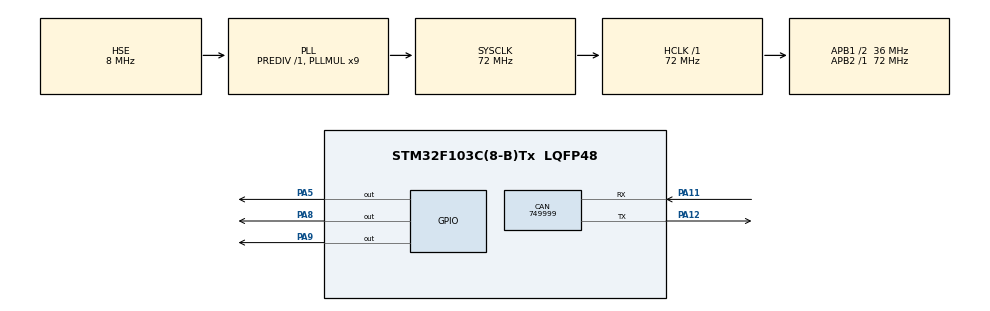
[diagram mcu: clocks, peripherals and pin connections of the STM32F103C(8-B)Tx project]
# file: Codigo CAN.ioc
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CAN.CalculateBaudRate=749999
CAN.CalculateTimeBit=1333
CAN.CalculateTimeQuantum=444.44444444444446
Mcu.Family=STM32F1
Mcu.Name=STM32F103C(8-B)Tx
Mcu.Package=LQFP48
NVIC.PriorityGroup=NVIC_PRIORITYGROUP_4
NVIC.USB_LP_CAN1_RX0_IRQn=true\:0\:0\:false\:false\:true\:true\:true\:true
PA11.Mode=CAN_Activate
PA11.Signal=CAN_RX
PA12.Mode=CAN_Activate
PA12.Signal=CAN_TX
PA13.Mode=Serial_Wire
PA13.Signal=SYS_JTMS-SWDIO
PA14.Mode=Serial_Wire
PA14.Signal=SYS_JTCK-SWCLK
PA5.Signal=GPIO_Output
PA8.PinState=GPIO_PIN_SET
PA8.Signal=GPIO_Output
PA9.Signal=GPIO_Output
PC14-OSC32_IN.Mode=LSE-External-Clock-Source
PC14-OSC32_IN.Signal=RCC_OSC32_IN
PC15-OSC32_OUT.Mode=LSE-External-Clock-Source
PC15-OSC32_OUT.Signal=RCC_OSC32_OUT
PD0-OSC_IN.Mode=HSE-External-Clock-Source
PD0-OSC_IN.Signal=RCC_OSC_IN
PD1-OSC_OUT.Mode=HSE-External-Clock-Source
PD1-OSC_OUT.Signal=RCC_OSC_OUT
ProjectManager.HeapSize=0x200
ProjectManager.StackSize=0x400
ProjectManager.TargetToolchain=STM32CubeIDE
RCC.AHBFreq_Value=72000000
RCC.APB1CLKDivider=RCC_HCLK_DIV2
RCC.APB1Freq_Value=36000000
RCC.APB1TimFreq_Value=72000000
RCC.APB2Freq_Value=72000000
RCC.APB2TimFreq_Value=72000000
RCC.HCLKFreq_Value=72000000
RCC.PLLMUL=RCC_PLL_MUL9
RCC.PLLSourceVirtual=RCC_PLLSOURCE_HSE
RCC.SYSCLKFreq_VALUE=72000000
RCC.SYSCLKSource=RCC_SYSCLKSOURCE_PLLCLK
RCC.USBFreq_Value=72000000
board=custom

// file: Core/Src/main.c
/* USER CODE BEGIN Header */
/**
  ******************************************************************************
  * @file           : main.c
  * @brief          : Main program body
  ******************************************************************************
  * @attention
  *
  * Copyright (c) 2024 STMicroelectronics.
  * All rights reserved.
  *
  * This software is licensed under terms that can be found in the LICENSE file
  * in the root directory of this software component.
  * If no LICENSE file comes with this software, it is provided AS-IS.
  *
  ******************************************************************************
  */
/* USER CODE END Header */
#include "main.h"

/* USER CODE BEGIN PD */
#define RELAY_FIRST_PIN GPIO_PIN_8
#define RELAY_SECOND_PIN GPIO_PIN_9
/* USER CODE END PD */

CAN_HandleTypeDef hcan;

/* USER CODE BEGIN PV */
CAN_HandleTypeDef hcan;
HAL_StatusTypeDef hal_status;
CAN_RxHeaderTypeDef rxheader;
uint8_t rxdata[8];
HAL_StatusTypeDef get_status;
uint16_t accumuladorVoltage;
uint8_t inversorVoltage;
int RecieveCanMSG = 0;

/* USER CODE END PV */

void SystemClock_Config(void);
static void MX_GPIO_Init(void);
static void MX_CAN_Init(void);

/* USER CODE BEGIN 0 */

void HAL_CAN_RxFifo0MsgPendingCallback(CAN_HandleTypeDef *hcan)
{

	if(HAL_CAN_GetRxMessage(hcan, CAN_RX_FIFO0, &rxheader, rxdata) == HAL_OK){
		RecieveCanMSG = 1;
	}
}
/* USER CODE END 0 */

int main(void)
{

  /* MCU Configuration--------------------------------------------------------*/

  /* Reset of all peripherals, Initializes the Flash interface and the Systick. */
  HAL_Init();

  /* Configure the system clock */
  SystemClock_Config();

  /* Initialize all configured peripherals */
  MX_GPIO_Init();
  MX_CAN_Init();
  /* USER CODE BEGIN 2 */

  HAL_CAN_Start(&hcan);

  HAL_CAN_ActivateNotification(&hcan, CAN_IT_RX_FIFO0_MSG_PENDING);

  /* USER CODE END 2 */

  /* Infinite loop */
  while (1)
  {

    /* USER CODE BEGIN 3 */
	  if(RecieveCanMSG == 1){
		switch(rxheader.StdId){

		case 0x673: // Voltagem do Acumulador
				accumuladorVoltage = rxdata[0];
				break;

		case 0x046: // Voltagem do Inversor
						inversorVoltage = rxdata[2];
						break;

		}
		RecieveCanMSG = 0;
	  }
	  if(inversorVoltage == (0.9*accumuladorVoltage)){
		  HAL_GPIO_WritePin(GPIOC, RELAY_FIRST_PIN, RESET); //Abre o relé da pré-carga//
		  HAL_GPIO_WritePin(GPIOC, RELAY_SECOND_PIN, SET); //Fecha o relé direto do acumulador para o inversor//
	  }
	  }

  /* USER CODE END 3 */
}

void SystemClock_Config(void)
{
  RCC_OscInitTypeDef RCC_OscInitStruct = {0};
  RCC_ClkInitTypeDef RCC_ClkInitStruct = {0};

  /** Initializes the RCC Oscillators according to the specified parameters
  * in the RCC_OscInitTypeDef structure.
  */
  RCC_OscInitStruct.OscillatorType = RCC_OSCILLATORTYPE_HSE;
  RCC_OscInitStruct.HSEState = RCC_HSE_BYPASS;
  RCC_OscInitStruct.HSEPredivValue = RCC_HSE_PREDIV_DIV1;
  RCC_OscInitStruct.HSIState = RCC_HSI_ON;
  RCC_OscInitStruct.PLL.PLLState = RCC_PLL_ON;
  RCC_OscInitStruct.PLL.PLLSource = RCC_PLLSOURCE_HSE;
  RCC_OscInitStruct.PLL.PLLMUL = RCC_PLL_MUL9;
  if (HAL_RCC_OscConfig(&RCC_OscInitStruct) != HAL_OK)
  {
    Error_Handler();
  }

  /** Initializes the CPU, AHB and APB buses clocks
  */
  RCC_ClkInitStruct.ClockType = RCC_CLOCKTYPE_HCLK|RCC_CLOCKTYPE_SYSCLK
                              |RCC_CLOCKTYPE_PCLK1|RCC_CLOCKTYPE_PCLK2;
  RCC_ClkInitStruct.SYSCLKSource = RCC_SYSCLKSOURCE_PLLCLK;
  RCC_ClkInitStruct.AHBCLKDivider = RCC_SYSCLK_DIV1;
  RCC_ClkInitStruct.APB1CLKDivider = RCC_HCLK_DIV2;
  RCC_ClkInitStruct.APB2CLKDivider = RCC_HCLK_DIV1;

  if (HAL_RCC_ClockConfig(&RCC_ClkInitStruct, FLASH_LATENCY_2) != HAL_OK)
  {
    Error_Handler();
  }
}

static void MX_CAN_Init(void)
{

  hcan.Instance = CAN1;
  hcan.Init.Prescaler = 16;
  hcan.Init.Mode = CAN_MODE_NORMAL;
  hcan.Init.SyncJumpWidth = CAN_SJW_1TQ;
  hcan.Init.TimeSeg1 = CAN_BS1_1TQ;
  hcan.Init.TimeSeg2 = CAN_BS2_1TQ;
  hcan.Init.TimeTriggeredMode = DISABLE;
  hcan.Init.AutoBusOff = DISABLE;
  hcan.Init.AutoWakeUp = DISABLE;
  hcan.Init.AutoRetransmission = DISABLE;
  hcan.Init.ReceiveFifoLocked = DISABLE;
  hcan.Init.TransmitFifoPriority = DISABLE;
  if (HAL_CAN_Init(&hcan) != HAL_OK)
  {
    Error_Handler();
  }

}

static void MX_GPIO_Init(void)
{
  GPIO_InitTypeDef GPIO_InitStruct = {0};

  /* GPIO Ports Clock Enable */
  __HAL_RCC_GPIOC_CLK_ENABLE();
  __HAL_RCC_GPIOD_CLK_ENABLE();
  __HAL_RCC_GPIOA_CLK_ENABLE();

  /*Configure GPIO pin Output Level */
  HAL_GPIO_WritePin(GPIOA, GPIO_PIN_5|GPIO_PIN_9, GPIO_PIN_RESET);

  /*Configure GPIO pin Output Level */
  HAL_GPIO_WritePin(GPIOA, GPIO_PIN_8, GPIO_PIN_SET);

  /*Configure GPIO pins : PA5 PA8 PA9 */
  GPIO_InitStruct.Pin = GPIO_PIN_5|GPIO_PIN_8|GPIO_PIN_9;
  GPIO_InitStruct.Mode = GPIO_MODE_OUTPUT_PP;
  GPIO_InitStruct.Pull = GPIO_NOPULL;
  GPIO_InitStruct.Speed = GPIO_SPEED_FREQ_LOW;
  HAL_GPIO_Init(GPIOA, &GPIO_InitStruct);

}

void Error_Handler(void)
{
  __disable_irq();
  while (1)
  {
  }
}
